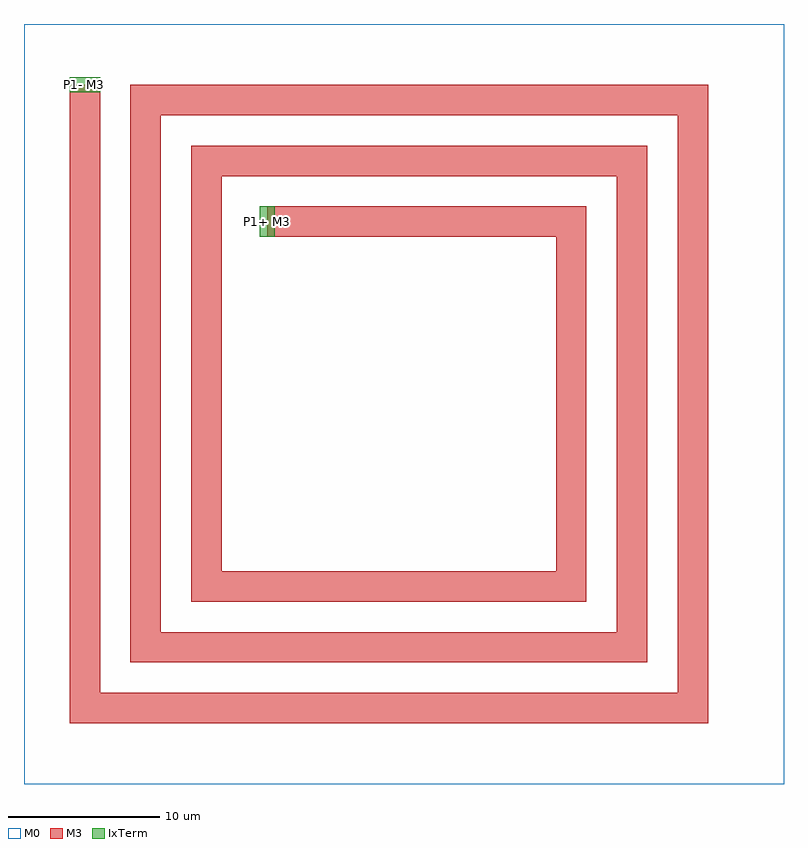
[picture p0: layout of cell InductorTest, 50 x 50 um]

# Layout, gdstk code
import gdstk
lib = gdstk.Library(unit=1e-6, precision=1e-09)
def R(c, l, rs):  # rectangles x0, y0, x1, y1
    for r in rs: c.add(gdstk.rectangle(r[:2], r[2:], *l))
M3 = (10, 0)
M0 = (30, 0)
IxTerm = (63, 0)

squarespiral_1 = lib.new_cell('SquareSpiral$1')
squarespiral_1.add(gdstk.FlexPath([(-9,12),(11,12),(11,-12),(-13,-12),(-13,16),(15,16),(15,-16),(-17,-16),(-17,20),(19,20),(19,-20),(-21,-20),(-21,21)], 2, ends="flush", simple_path=True, layer=10, datatype=0))  # M3

inductortest = lib.new_cell('InductorTest')
R(inductortest, M0, [(-25,-25,25,25)])
R(inductortest, IxTerm, [(-9.5,11,-8.5,13), (-22,20.5,-20,21.5)])
inductortest.add(gdstk.Reference(squarespiral_1, (0,0)))
inductortest.add(gdstk.Label('P1- M3', (-21,21), layer=64, texttype=0))
inductortest.add(gdstk.Label('P1+ M3', (-9,12), layer=64, texttype=0))

lib.write_gds('InductorTest.gds')
